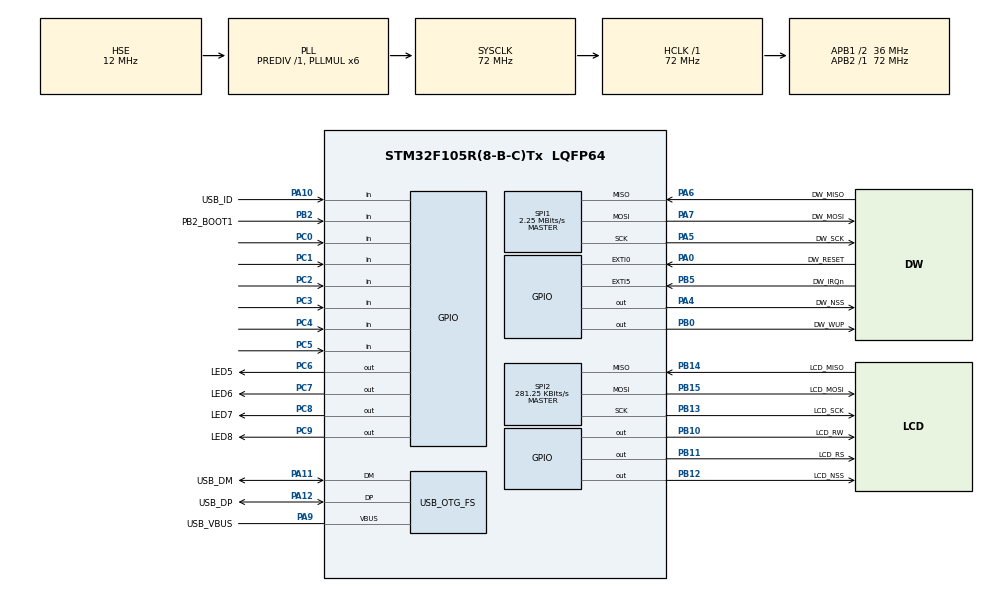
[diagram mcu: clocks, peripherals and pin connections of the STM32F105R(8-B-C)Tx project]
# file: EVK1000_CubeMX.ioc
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Mcu.Family=STM32F1
Mcu.Name=STM32F105R(8-B-C)Tx
Mcu.Package=LQFP64
NVIC.EXTI0_IRQn=true\:3\:0\:true\:true\:true\:1
NVIC.EXTI9_5_IRQn=true\:4\:0\:true\:true\:true\:2
NVIC.OTG_FS_IRQn=true\:7\:0\:true\:true\:true\:3
NVIC.PriorityGroup=NVIC_PRIORITYGROUP_4
PA0-WKUP.GPIO_Label=DW_RESET
PA0-WKUP.Signal=GPXTI0
PA10.GPIO_Label=USB_ID
PA10.Signal=GPIO_Input
PA11.GPIO_Label=USB_DM
PA11.Mode=Device_Only
PA11.Signal=USB_OTG_FS_DM
PA12.GPIO_Label=USB_DP
PA12.Mode=Device_Only
PA12.Signal=USB_OTG_FS_DP
PA13.GPIO_Label=J_TMS
PA13.Mode=JTAG_5_pins
PA13.Signal=SYS_JTMS-SWDIO
PA14.GPIO_Label=J_TCK
PA14.Mode=JTAG_5_pins
PA14.Signal=SYS_JTCK-SWCLK
PA15.GPIO_Label=J_TDI
PA15.Mode=JTAG_5_pins
PA15.Signal=SYS_JTDI
PA4.GPIO_Label=DW_NSS
PA4.GPIO_Speed=GPIO_SPEED_FREQ_HIGH
PA4.PinState=GPIO_PIN_SET
PA4.Signal=GPIO_Output
PA5.GPIO_Label=DW_SCK
PA5.Mode=Full_Duplex_Master
PA5.Signal=SPI1_SCK
PA6.GPIO_Label=DW_MISO
PA6.GPIO_PuPd=GPIO_PULLUP
PA6.Mode=Full_Duplex_Master
PA6.Signal=SPI1_MISO
PA7.GPIO_Label=DW_MOSI
PA7.Mode=Full_Duplex_Master
PA7.Signal=SPI1_MOSI
PA9.GPIO_Label=USB_VBUS
PA9.Mode=Activate_VBUS
PA9.Signal=USB_OTG_FS_VBUS
PB0.GPIO_Label=DW_WUP
PB0.GPIO_ModeDefaultOutputPP=GPIO_MODE_OUTPUT_OD
PB0.GPIO_Speed=GPIO_SPEED_FREQ_HIGH
PB0.PinState=GPIO_PIN_SET
PB0.Signal=GPIO_Output
PB10.GPIO_Label=LCD_RW
PB10.GPIO_Speed=GPIO_SPEED_FREQ_HIGH
PB10.Signal=GPIO_Output
PB11.GPIO_Label=LCD_RS
PB11.GPIO_Speed=GPIO_SPEED_FREQ_HIGH
PB11.Signal=GPIO_Output
PB12.GPIO_Label=LCD_NSS
PB12.GPIO_Speed=GPIO_SPEED_FREQ_HIGH
PB12.PinState=GPIO_PIN_SET
PB12.Signal=GPIO_Output
PB13.GPIO_Label=LCD_SCK
PB13.Mode=Full_Duplex_Master
PB13.Signal=SPI2_SCK
PB14.GPIO_Label=LCD_MISO
PB14.Mode=Full_Duplex_Master
PB14.Signal=SPI2_MISO
PB15.GPIO_Label=LCD_MOSI
PB15.Mode=Full_Duplex_Master
PB15.Signal=SPI2_MOSI
PB2.GPIO_Label=PB2_BOOT1
PB2.Signal=GPIO_Input
PB3.GPIO_Label=J_TDO
PB3.Mode=JTAG_5_pins
PB3.Signal=SYS_JTDO
PB4.GPIO_Label=J_TRST
PB4.Mode=JTAG_5_pins
PB4.Signal=SYS_NJTRST
PB5.GPIO_Label=DW_IRQn
PB5.GPIO_PuPd=GPIO_PULLDOWN
PB5.Signal=GPXTI5
PC0.Signal=GPIO_Input
PC1.Signal=GPIO_Input
PC2.Signal=GPIO_Input
PC3.Signal=GPIO_Input
PC4.Signal=GPIO_Input
PC5.Signal=GPIO_Input
PC6.GPIO_Label=LED5
PC6.GPIO_Speed=GPIO_SPEED_FREQ_HIGH
PC6.Signal=GPIO_Output
PC7.GPIO_Label=LED6
PC7.GPIO_Speed=GPIO_SPEED_FREQ_HIGH
PC7.Signal=GPIO_Output
PC8.GPIO_Label=LED7
PC8.GPIO_Speed=GPIO_SPEED_FREQ_HIGH
PC8.Signal=GPIO_Output
PC9.GPIO_Label=LED8
PC9.GPIO_Speed=GPIO_SPEED_FREQ_HIGH
PC9.Signal=GPIO_Output
PD0-OSC_IN.Mode=HSE-External-Oscillator
PD0-OSC_IN.Signal=RCC_OSC_IN
PD1-OSC_OUT.Mode=HSE-External-Oscillator
PD1-OSC_OUT.Signal=RCC_OSC_OUT
ProjectManager.HeapSize=0x200
ProjectManager.StackSize=0x400
ProjectManager.TargetToolchain=SW4STM32
RCC.AHBFreq_Value=72000000
RCC.APB1CLKDivider=RCC_HCLK_DIV2
RCC.APB1Freq_Value=36000000
RCC.APB1TimFreq_Value=72000000
RCC.APB2Freq_Value=72000000
RCC.APB2TimFreq_Value=72000000
RCC.HCLKFreq_Value=72000000
RCC.HSE_VALUE=12000000
RCC.HSIState=RCC_HSI_ON
RCC.PLLMUL=RCC_PLL_MUL6
RCC.SYSCLKFreq_VALUE=72000000
RCC.SYSCLKSource=RCC_SYSCLKSOURCE_PLLCLK
RCC.USBFreq_Value=48000000
SPI1.BaudRatePrescaler=SPI_BAUDRATEPRESCALER_32
SPI1.CalculateBaudRate=2.25 MBits/s
SPI1.Mode=SPI_MODE_MASTER
SPI2.BaudRatePrescaler=SPI_BAUDRATEPRESCALER_128
SPI2.CLKPhase=SPI_PHASE_2EDGE
SPI2.CLKPolarity=SPI_POLARITY_HIGH
SPI2.CalculateBaudRate=281.25 KBits/s
SPI2.Mode=SPI_MODE_MASTER
USB_DEVICE.CLASS_NAME_FS=CDC
USB_DEVICE.USBD_HandleTypeDef=hUsbDeviceFS
USB_DEVICE.VirtualMode=Cdc
USB_DEVICE.VirtualModeFS=Cdc_FS
USB_OTG_FS.VirtualMode=Device_Only
VP_USB_DEVICE_VS_USB_DEVICE_CDC_FS.Mode=CDC_FS
board=EVK1000_CubeMX

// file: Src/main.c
/**
  ******************************************************************************
  * File Name          : main.c
  * Description        : Main program body
  ******************************************************************************
  *
  * Copyright (c) 2016 STMicroelectronics International N.V.
  * All rights reserved.
  *
  * Redistribution and use in source and binary forms, with or without
  * modification, are permitted, provided that the following conditions are met:
  *
  * 1. Redistribution of source code must retain the above copyright notice,
  *    this list of conditions and the following disclaimer.
  * 2. Redistributions in binary form must reproduce the above copyright notice,
  *    this list of conditions and the following disclaimer in the documentation
  *    and/or other materials provided with the distribution.
  * 3. Neither the name of STMicroelectronics nor the names of other
  *    contributors to this software may be used to endorse or promote products
  *    derived from this software without specific written permission.
  * 4. This software, including modifications and/or derivative works of this
  *    software, must execute solely and exclusively on microcontroller or
  *    microprocessor devices manufactured by or for STMicroelectronics.
  * 5. Redistribution and use of this software other than as permitted under
  *    this license is void and will automatically terminate your rights under
  *    this license.
  *
  * THIS SOFTWARE IS PROVIDED BY STMICROELECTRONICS AND CONTRIBUTORS "AS IS"
  * AND ANY EXPRESS, IMPLIED OR STATUTORY WARRANTIES, INCLUDING, BUT NOT
  * LIMITED TO, THE IMPLIED WARRANTIES OF MERCHANTABILITY, FITNESS FOR A
  * PARTICULAR PURPOSE AND NON-INFRINGEMENT OF THIRD PARTY INTELLECTUAL PROPERTY
  * RIGHTS ARE DISCLAIMED TO THE FULLEST EXTENT PERMITTED BY LAW. IN NO EVENT
  * SHALL STMICROELECTRONICS OR CONTRIBUTORS BE LIABLE FOR ANY DIRECT, INDIRECT,
  * INCIDENTAL, SPECIAL, EXEMPLARY, OR CONSEQUENTIAL DAMAGES (INCLUDING, BUT NOT
  * LIMITED TO, PROCUREMENT OF SUBSTITUTE GOODS OR SERVICES; LOSS OF USE, DATA,
  * OR PROFITS; OR BUSINESS INTERRUPTION) HOWEVER CAUSED AND ON ANY THEORY OF
  * LIABILITY, WHETHER IN CONTRACT, STRICT LIABILITY, OR TORT (INCLUDING
  * NEGLIGENCE OR OTHERWISE) ARISING IN ANY WAY OUT OF THE USE OF THIS SOFTWARE,
  * EVEN IF ADVISED OF THE POSSIBILITY OF SUCH DAMAGE.
  *
  ******************************************************************************
  */
#include "main.h"
#include "stm32f1xx_hal.h"
#include "usb_device.h"

#define EX_05A_DEF 1
/* USER CODE BEGIN Includes */
/*! ----------------------------------------------------------------------------
 *  @file    main.c
 *  @brief   wrapper for main DecaRanging application
 *			 the main.c is generated using CubeMx tool
 *           which initialize all peripherals of MCU
 *           and then is calling to dw_main().
 * @attention
 *
 * Copyright 2016 (c) DecaWave Ltd, Dublin, Ireland.
 *
 * All rights reserved.
 *
 * @author DecaWave
 */
#include "port.h"
#include "lcd.h"
app_t 	app;

/* USER CODE END Includes */

SPI_HandleTypeDef hspi1;
SPI_HandleTypeDef hspi2;

/* USER CODE BEGIN PV */
/* Private variables ---------------------------------------------------------*/

/* USER CODE END PV */

void SystemClock_Config(void);
void Error_Handler(void);
static void MX_GPIO_Init(void);
static void MX_SPI1_Init(void);
static void MX_SPI2_Init(void);
static void MX_NVIC_Init(void);

/* USER CODE BEGIN PFP */
/* Private function prototypes -----------------------------------------------*/

/* USER CODE END PFP */

/* USER CODE BEGIN 0 */
extern int dw_main(void);

void initLCD(void)
{
    uint8_t initseq[9] = { 0x39, 0x14, 0x55, 0x6D, 0x78, 0x38 /*0x3C*/, 0x0C, 0x01, 0x06 };
    uint8_t command = 0x0;
    int j = 100000;

    writetoLCD( 9, 0,  initseq); //init seq
    while(j--);

    command = 0x2 ;  //return cursor home
    writetoLCD( 1, 0,  &command);
    command = 0x1 ;  //clear screen
    writetoLCD( 1, 0,  &command);
}
/* USER CODE END 0 */

int main(void)
{

  /* MCU Configuration----------------------------------------------------------*/

  /* Reset of all peripherals, Initializes the Flash interface and the Systick. */
  HAL_Init();

  /* Configure the system clock */
  SystemClock_Config();

  /* Initialize all configured peripherals */
  MX_GPIO_Init();
  MX_SPI1_Init();
  MX_SPI2_Init();
  MX_USB_DEVICE_Init();

  /* Initialize interrupts */
  MX_NVIC_Init();

  /* USER CODE BEGIN 2 */

  /*
   * DW_RESET_Pin has been configured by CubeMx as Exti0 line
   * Reconfigure the line as Input
   */
  setup_DW1000RSTnIRQ(0);

  initLCD();

  dw_main();

  /* USER CODE END 2 */

  /* Infinite loop */
  while (1)
  {

  }

}

/** System Clock Configuration
*/
void SystemClock_Config(void)
{

  RCC_OscInitTypeDef RCC_OscInitStruct;
  RCC_ClkInitTypeDef RCC_ClkInitStruct;
  RCC_PeriphCLKInitTypeDef PeriphClkInit;

    /**Initializes the CPU, AHB and APB busses clocks
    */
  RCC_OscInitStruct.OscillatorType = RCC_OSCILLATORTYPE_HSE;
  RCC_OscInitStruct.HSEState = RCC_HSE_ON;
  RCC_OscInitStruct.HSEPredivValue = RCC_HSE_PREDIV_DIV1;
  RCC_OscInitStruct.HSIState = RCC_HSI_ON;
  RCC_OscInitStruct.Prediv1Source = RCC_PREDIV1_SOURCE_HSE;
  RCC_OscInitStruct.PLL.PLLState = RCC_PLL_ON;
  RCC_OscInitStruct.PLL.PLLSource = RCC_PLLSOURCE_HSE;
  RCC_OscInitStruct.PLL.PLLMUL = RCC_PLL_MUL6;
  RCC_OscInitStruct.PLL2.PLL2State = RCC_PLL_NONE;
  if (HAL_RCC_OscConfig(&RCC_OscInitStruct) != HAL_OK)
  {
    Error_Handler();
  }

    /**Initializes the CPU, AHB and APB busses clocks
    */
  RCC_ClkInitStruct.ClockType = RCC_CLOCKTYPE_HCLK|RCC_CLOCKTYPE_SYSCLK
                              |RCC_CLOCKTYPE_PCLK1|RCC_CLOCKTYPE_PCLK2;
  RCC_ClkInitStruct.SYSCLKSource = RCC_SYSCLKSOURCE_PLLCLK;
  RCC_ClkInitStruct.AHBCLKDivider = RCC_SYSCLK_DIV1;
  RCC_ClkInitStruct.APB1CLKDivider = RCC_HCLK_DIV2;
  RCC_ClkInitStruct.APB2CLKDivider = RCC_HCLK_DIV1;

  if (HAL_RCC_ClockConfig(&RCC_ClkInitStruct, FLASH_LATENCY_2) != HAL_OK)
  {
    Error_Handler();
  }

  PeriphClkInit.PeriphClockSelection = RCC_PERIPHCLK_USB;
  PeriphClkInit.UsbClockSelection = RCC_USBCLKSOURCE_PLL_DIV3;
  if (HAL_RCCEx_PeriphCLKConfig(&PeriphClkInit) != HAL_OK)
  {
    Error_Handler();
  }

    /**Configure the Systick interrupt time
    */
  HAL_SYSTICK_Config(HAL_RCC_GetHCLKFreq()/1000);

    /**Configure the Systick
    */
  HAL_SYSTICK_CLKSourceConfig(SYSTICK_CLKSOURCE_HCLK);

    /**Configure the Systick interrupt time
    */
  __HAL_RCC_PLLI2S_ENABLE();

  /* SysTick_IRQn interrupt configuration */
  HAL_NVIC_SetPriority(SysTick_IRQn, 5, 0);
}

/** NVIC Configuration
*/
static void MX_NVIC_Init(void)
{
  /* EXTI0_IRQn interrupt configuration */
  HAL_NVIC_SetPriority(EXTI0_IRQn, 3, 0);
  HAL_NVIC_EnableIRQ(EXTI0_IRQn);
  /* EXTI9_5_IRQn interrupt configuration */
  HAL_NVIC_SetPriority(EXTI9_5_IRQn, 4, 0);
  HAL_NVIC_EnableIRQ(EXTI9_5_IRQn);
  /* OTG_FS_IRQn interrupt configuration */
  HAL_NVIC_SetPriority(OTG_FS_IRQn, 7, 0);
  HAL_NVIC_EnableIRQ(OTG_FS_IRQn);
}

/* SPI1 init function */
static void MX_SPI1_Init(void)
{

  hspi1.Instance = SPI1;
  hspi1.Init.Mode = SPI_MODE_MASTER;
  hspi1.Init.Direction = SPI_DIRECTION_2LINES;
  hspi1.Init.DataSize = SPI_DATASIZE_8BIT;
  hspi1.Init.CLKPolarity = SPI_POLARITY_LOW;
  hspi1.Init.CLKPhase = SPI_PHASE_1EDGE;
  hspi1.Init.NSS = SPI_NSS_SOFT;
  hspi1.Init.BaudRatePrescaler = SPI_BAUDRATEPRESCALER_32;
  hspi1.Init.FirstBit = SPI_FIRSTBIT_MSB;
  hspi1.Init.TIMode = SPI_TIMODE_DISABLE;
  hspi1.Init.CRCCalculation = SPI_CRCCALCULATION_DISABLE;
  hspi1.Init.CRCPolynomial = 10;
  if (HAL_SPI_Init(&hspi1) != HAL_OK)
  {
    Error_Handler();
  }

}

/* SPI2 init function */
static void MX_SPI2_Init(void)
{

  hspi2.Instance = SPI2;
  hspi2.Init.Mode = SPI_MODE_MASTER;
  hspi2.Init.Direction = SPI_DIRECTION_2LINES;
  hspi2.Init.DataSize = SPI_DATASIZE_8BIT;
  hspi2.Init.CLKPolarity = SPI_POLARITY_HIGH;
  hspi2.Init.CLKPhase = SPI_PHASE_2EDGE;
  hspi2.Init.NSS = SPI_NSS_SOFT;
  hspi2.Init.BaudRatePrescaler = SPI_BAUDRATEPRESCALER_128;
  hspi2.Init.FirstBit = SPI_FIRSTBIT_MSB;
  hspi2.Init.TIMode = SPI_TIMODE_DISABLE;
  hspi2.Init.CRCCalculation = SPI_CRCCALCULATION_DISABLE;
  hspi2.Init.CRCPolynomial = 10;
  if (HAL_SPI_Init(&hspi2) != HAL_OK)
  {
    Error_Handler();
  }

}

/** Configure pins as
        * Analog
        * Input
        * Output
        * EVENT_OUT
        * EXTI
        * Free pins are configured automatically as Analog (this feature is enabled through
        * the Code Generation settings)
*/
static void MX_GPIO_Init(void)
{

  GPIO_InitTypeDef GPIO_InitStruct;

  /* GPIO Ports Clock Enable */
  __HAL_RCC_GPIOC_CLK_ENABLE();
  __HAL_RCC_GPIOD_CLK_ENABLE();
  __HAL_RCC_GPIOA_CLK_ENABLE();
  __HAL_RCC_GPIOB_CLK_ENABLE();

  /*Configure GPIO pins : PC13 PC14 PC15 PC10
                           PC11 PC12 */
  GPIO_InitStruct.Pin = GPIO_PIN_13|GPIO_PIN_14|GPIO_PIN_15|GPIO_PIN_10
                          |GPIO_PIN_11|GPIO_PIN_12;
  GPIO_InitStruct.Mode = GPIO_MODE_ANALOG;
  HAL_GPIO_Init(GPIOC, &GPIO_InitStruct);

  /*Configure GPIO pins : PC0 PC1 PC2 PC3
                           PC4 PC5 */
  GPIO_InitStruct.Pin = GPIO_PIN_0|GPIO_PIN_1|GPIO_PIN_2|GPIO_PIN_3
                          |GPIO_PIN_4|GPIO_PIN_5;
  GPIO_InitStruct.Mode = GPIO_MODE_INPUT;
  GPIO_InitStruct.Pull = GPIO_NOPULL;
  HAL_GPIO_Init(GPIOC, &GPIO_InitStruct);

  /*Configure GPIO pin : DW_RESET_Pin */
  GPIO_InitStruct.Pin = DW_RESET_Pin;
  GPIO_InitStruct.Mode = GPIO_MODE_OUTPUT_OD;
  GPIO_InitStruct.Pull = GPIO_NOPULL;
  HAL_GPIO_Init(DW_RESET_GPIO_Port, &GPIO_InitStruct);

  /*Configure GPIO pins : PA1 PA2 PA3 PA8 */
  GPIO_InitStruct.Pin = GPIO_PIN_1|GPIO_PIN_2|GPIO_PIN_3|GPIO_PIN_8;
  GPIO_InitStruct.Mode = GPIO_MODE_ANALOG;
  HAL_GPIO_Init(GPIOA, &GPIO_InitStruct);

  /*Configure GPIO pin : DW_NSS_Pin */
  GPIO_InitStruct.Pin = DW_NSS_Pin;
  GPIO_InitStruct.Mode = GPIO_MODE_OUTPUT_PP;
  GPIO_InitStruct.Speed = GPIO_SPEED_FREQ_HIGH;
  HAL_GPIO_Init(DW_NSS_GPIO_Port, &GPIO_InitStruct);

  /*Configure GPIO pin : DW_WUP_Pin */
  GPIO_InitStruct.Pin = DW_WUP_Pin;
  GPIO_InitStruct.Mode = GPIO_MODE_OUTPUT_OD;
  GPIO_InitStruct.Speed = GPIO_SPEED_FREQ_HIGH;
  HAL_GPIO_Init(DW_WUP_GPIO_Port, &GPIO_InitStruct);

  /*Configure GPIO pins : PB1 PB6 PB7 PB8
                           PB9 */
  GPIO_InitStruct.Pin = GPIO_PIN_1|GPIO_PIN_6|GPIO_PIN_7|GPIO_PIN_8
                          |GPIO_PIN_9;
  GPIO_InitStruct.Mode = GPIO_MODE_ANALOG;
  HAL_GPIO_Init(GPIOB, &GPIO_InitStruct);

  /*Configure GPIO pin : PB2_BOOT1_Pin */
  GPIO_InitStruct.Pin = PB2_BOOT1_Pin;
  GPIO_InitStruct.Mode = GPIO_MODE_INPUT;
  GPIO_InitStruct.Pull = GPIO_NOPULL;
  HAL_GPIO_Init(PB2_BOOT1_GPIO_Port, &GPIO_InitStruct);

  /*Configure GPIO pins : LCD_RW_Pin LCD_RS_Pin LCD_NSS_Pin */
  GPIO_InitStruct.Pin = LCD_RW_Pin|LCD_RS_Pin|LCD_NSS_Pin;
  GPIO_InitStruct.Mode = GPIO_MODE_OUTPUT_PP;
  GPIO_InitStruct.Speed = GPIO_SPEED_FREQ_HIGH;
  HAL_GPIO_Init(GPIOB, &GPIO_InitStruct);

  /*Configure GPIO pins : LED5_Pin LED6_Pin LED7_Pin LED8_Pin */
  GPIO_InitStruct.Pin = LED5_Pin|LED6_Pin|LED7_Pin|LED8_Pin;
  GPIO_InitStruct.Mode = GPIO_MODE_OUTPUT_PP;
  GPIO_InitStruct.Speed = GPIO_SPEED_FREQ_HIGH;
  HAL_GPIO_Init(GPIOC, &GPIO_InitStruct);

  /*Configure GPIO pin : USB_ID_Pin */
  GPIO_InitStruct.Pin = USB_ID_Pin;
  GPIO_InitStruct.Mode = GPIO_MODE_INPUT;
  GPIO_InitStruct.Pull = GPIO_NOPULL;
  HAL_GPIO_Init(USB_ID_GPIO_Port, &GPIO_InitStruct);

  /*Configure GPIO pin : PD2 */
  GPIO_InitStruct.Pin = GPIO_PIN_2;
  GPIO_InitStruct.Mode = GPIO_MODE_ANALOG;
  HAL_GPIO_Init(GPIOD, &GPIO_InitStruct);

  /*Configure GPIO pin : DW_IRQn_Pin */
  GPIO_InitStruct.Pin = DW_IRQn_Pin;
  GPIO_InitStruct.Mode = GPIO_MODE_IT_RISING;
  GPIO_InitStruct.Pull = GPIO_PULLDOWN;
  HAL_GPIO_Init(DW_IRQn_GPIO_Port, &GPIO_InitStruct);

  /*Configure GPIO pin Output Level */
  HAL_GPIO_WritePin(DW_NSS_GPIO_Port, DW_NSS_Pin, GPIO_PIN_SET);

  /*Configure GPIO pin Output Level */
  HAL_GPIO_WritePin(GPIOB, DW_WUP_Pin|LCD_NSS_Pin, GPIO_PIN_SET);

  /*Configure GPIO pin Output Level */
  HAL_GPIO_WritePin(GPIOB, LCD_RW_Pin|LCD_RS_Pin, GPIO_PIN_RESET);

  /*Configure GPIO pin Output Level */
  HAL_GPIO_WritePin(GPIOC, LED5_Pin|LED6_Pin|LED7_Pin|LED8_Pin, GPIO_PIN_RESET);

}

void Error_Handler(void)
{
  while(1)
  {
  }
}

/************************ (C) COPYRIGHT STMicroelectronics *****END OF FILE****/
